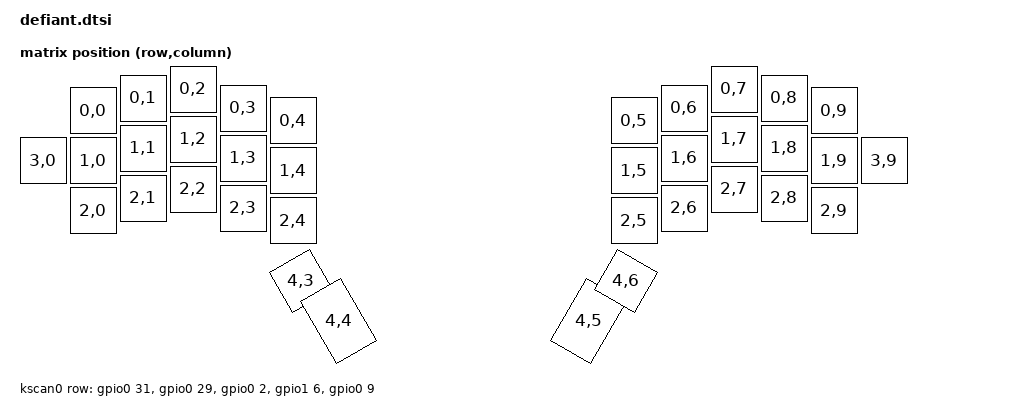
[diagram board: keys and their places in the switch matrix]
#include <dt-bindings/zmk/matrix_transform.h>
#include <physical_layouts.dtsi>

/ {
    chosen {
        zmk,kscan = &kscan0;
        zmk,matrix-transform = &default_transform;
        zmk,physical-layout = &default_layout;
    };

    kscan0: kscan {
        compatible = "zmk,kscan-gpio-matrix";
        diode-direction = "col2row";

        // Rows (inputs, with pull-down): P21 (top), P20 (home), P19 (bottom), P9 (side), P10 (thumb)
        row-gpios
            = <&gpio0 31 (GPIO_ACTIVE_HIGH | GPIO_PULL_DOWN)>  // P21 - top row
            , <&gpio0 29 (GPIO_ACTIVE_HIGH | GPIO_PULL_DOWN)>  // P20 - home row
            , <&gpio0 2  (GPIO_ACTIVE_HIGH | GPIO_PULL_DOWN)>  // P19 - bottom row
            , <&gpio1 6  (GPIO_ACTIVE_HIGH | GPIO_PULL_DOWN)>  // P9  - side key row
            , <&gpio0 9  (GPIO_ACTIVE_HIGH | GPIO_PULL_DOWN)>  // P10 - thumb row
            ;
    };

    default_transform: keymap_transform_0 {
        compatible = "zmk,matrix-transform";
        columns = <10>;
        rows = <5>;
        // Matrix map (in keymap array order):
        //   L pinky  L ring  L mid  L idx  L inner | R inner  R idx  R mid  R ring  R pinky
        // Row 0: top row (5 L + 5 R = 10 keys)
        // Row 1: home row (10 keys)
        // Row 2: bottom row (10 keys)
        // Row 3: side keys — L side (col 0), R side (col 9) — 2 keys
        // Row 4: thumbs — L thumb_near, L thumb_far, R thumb_far, R thumb_near — 4 keys
        //
        // Right half uses reversed col-gpios + col-offset=5 so its scan col 0 (P4)
        // maps to logical col 5 (R inner), and its scan col 4 (P0) maps to logical
        // col 9 (R pinky). This mirrors the flipped PCB physical layout.
        map = <
RC(0,0) RC(0,1) RC(0,2) RC(0,3) RC(0,4)   RC(0,5) RC(0,6) RC(0,7) RC(0,8) RC(0,9)
RC(1,0) RC(1,1) RC(1,2) RC(1,3) RC(1,4)   RC(1,5) RC(1,6) RC(1,7) RC(1,8) RC(1,9)
RC(2,0) RC(2,1) RC(2,2) RC(2,3) RC(2,4)   RC(2,5) RC(2,6) RC(2,7) RC(2,8) RC(2,9)
RC(3,0)                                                                   RC(3,9)
                        RC(4,3) RC(4,4)   RC(4,5) RC(4,6)
        >;
    };

    default_layout: default_layout {
        compatible = "zmk,physical-layout";
        display-name = "Defiant";
        transform = <&default_transform>;
        kscan = <&kscan0>;
        // Key positions in matrix-transform map order (36 keys)
        keys  //                     w   h    x    y     rot    rx   ry
            // Row 0 (top)
            = <&key_physical_attrs 100 100  100   43       0     0    0>  // L pinky top
            , <&key_physical_attrs 100 100  200   18       0     0    0>  // L ring top
            , <&key_physical_attrs 100 100  300    0       0     0    0>  // L middle top
            , <&key_physical_attrs 100 100  400   38       0     0    0>  // L index top
            , <&key_physical_attrs 100 100  500   63       0     0    0>  // L inner top
            , <&key_physical_attrs 100 100 1182   63       0     0    0>  // R inner top
            , <&key_physical_attrs 100 100 1282   38       0     0    0>  // R index top
            , <&key_physical_attrs 100 100 1382    0       0     0    0>  // R middle top
            , <&key_physical_attrs 100 100 1482   18       0     0    0>  // R ring top
            , <&key_physical_attrs 100 100 1582   43       0     0    0>  // R pinky top
            // Row 1 (home)
            , <&key_physical_attrs 100 100  100  143       0     0    0>  // L pinky home
            , <&key_physical_attrs 100 100  200  118       0     0    0>  // L ring home
            , <&key_physical_attrs 100 100  300  100       0     0    0>  // L middle home
            , <&key_physical_attrs 100 100  400  138       0     0    0>  // L index home
            , <&key_physical_attrs 100 100  500  163       0     0    0>  // L inner home
            , <&key_physical_attrs 100 100 1182  163       0     0    0>  // R inner home
            , <&key_physical_attrs 100 100 1282  138       0     0    0>  // R index home
            , <&key_physical_attrs 100 100 1382  100       0     0    0>  // R middle home
            , <&key_physical_attrs 100 100 1482  118       0     0    0>  // R ring home
            , <&key_physical_attrs 100 100 1582  143       0     0    0>  // R pinky home
            // Row 2 (bottom)
            , <&key_physical_attrs 100 100  100  243       0     0    0>  // L pinky bottom
            , <&key_physical_attrs 100 100  200  218       0     0    0>  // L ring bottom
            , <&key_physical_attrs 100 100  300  200       0     0    0>  // L middle bottom
            , <&key_physical_attrs 100 100  400  238       0     0    0>  // L index bottom
            , <&key_physical_attrs 100 100  500  263       0     0    0>  // L inner bottom
            , <&key_physical_attrs 100 100 1182  263       0     0    0>  // R inner bottom
            , <&key_physical_attrs 100 100 1282  238       0     0    0>  // R index bottom
            , <&key_physical_attrs 100 100 1382  200       0     0    0>  // R middle bottom
            , <&key_physical_attrs 100 100 1482  218       0     0    0>  // R ring bottom
            , <&key_physical_attrs 100 100 1582  243       0     0    0>  // R pinky bottom
            // Row 3 (side keys)
            , <&key_physical_attrs 100 100    0  143       0     0    0>  // L side (outer pinky)
            , <&key_physical_attrs 100 100 1682  143       0     0    0>  // R side (outer pinky)
            // Row 4 (thumbs) — rotations in hundredths of a degree
            , <&key_physical_attrs 100 100  516  384  (-3000)  566  434>  // L thumb near
            , <&key_physical_attrs 100 150  591  439  (-3000)  641  514>  // L thumb far (1.5u tall)
            , <&key_physical_attrs 100 150 1091  439    3000  1141  514>  // R thumb far (1.5u tall)
            , <&key_physical_attrs 100 100 1166  384    3000  1216  434>  // R thumb near
            ;
    };
};
